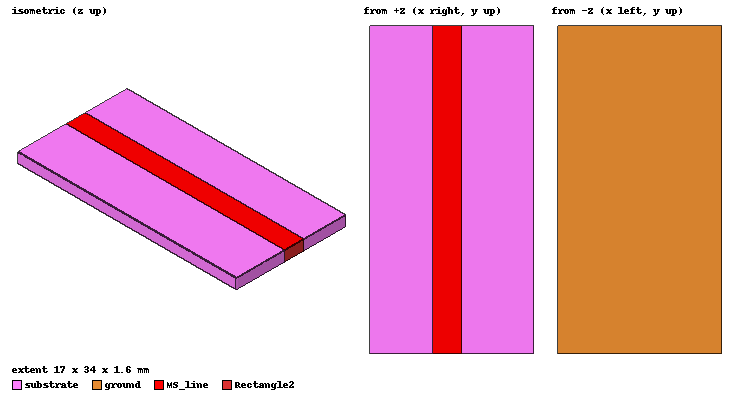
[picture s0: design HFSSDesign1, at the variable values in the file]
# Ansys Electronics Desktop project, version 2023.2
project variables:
  $a = 17mm
  $b1 = 34mm
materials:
  vacuum: permittivity=1
  FR4_epoxy: permittivity=4.4 dielectric_loss_tangent=0.02

design HFSSDesign1 (HFSS, HFSS Modal Network, model units mm)
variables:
  a = 17mm
  b = 14mm
  b1 = b
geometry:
  ground = rectangle(corner=(0mm, 0mm, 0mm), x_size=a, y_size=34mm)
  substrate [FR4_epoxy] = box(corner=(0mm, 0mm, 0mm), size=(17mm, 34mm, 1.6mm))
  MS_line = rectangle(corner=(6.5mm, 0mm, 1.6mm), x_size=3mm, y_size=34mm)
  Rectangle1 = rectangle(corner=(6.5mm, 0mm, 1.6mm), z_size=-1.6mm, x_size=3mm)
  Rectangle2 = rectangle(corner=(9.5mm, 34mm, 1.6mm), z_size=-1.6mm, x_size=-3mm)
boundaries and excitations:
  PerfE1: Perfect E Objects=[ground, MS_line]
  1: Lumped Port Objects=Rectangle1 LumpedPortType=Default Modes{Mode1{IntLine{(8, 0, 0) -> (8, 0, 1.6)} CharImp=Zpi RenormImp=50ohm}} Impedance=50ohm
  2: Lumped Port Objects=Rectangle2 LumpedPortType=Default Modes{Mode1{IntLine{(8, 34, 0) -> (8, 34, 1.6)} CharImp=Zpi RenormImp=50ohm}} Impedance=50ohm
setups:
  Setup1: HfssDrivenAuto AutoSolverSetting=Balanced SaveAnyFields=false Type=Interpolating
    sweep Sweep: 1GHz to 3GHz, 501 points;
  Setup2: HfssDrivenAuto AutoSolverSetting=Balanced SaveAnyFields=false Type=Interpolating
    sweep Sweep: 1GHz to 4GHz, 501 points;
  Setup3: HfssDriven Frequency=2.4GHz MaxDeltaS=0.02 MaximumPasses=6 MinimumPasses=1 MinimumConvergedPasses=1 PercentRefinement=30 BasisOrder=1 PortAccuracy=2 DrivenSolverType="Direct Solver"
    sweep Sweep: 1.2GHz to 3.6GHz, 401 points; Type=Fast SaveFields
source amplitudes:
  1:1: 1W 0deg
  2:1: 0W 0deg
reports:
  S Parameter Plot 1: dB(S(1,1)) vs Freq on Setup1 : Sweep
  S Parameter Plot 2: dB(S(1,1)) vs Freq on Setup1 : Sweep
  S Parameter Plot 3: dB(S(1,1)) vs Freq on Setup1 : Sweep
